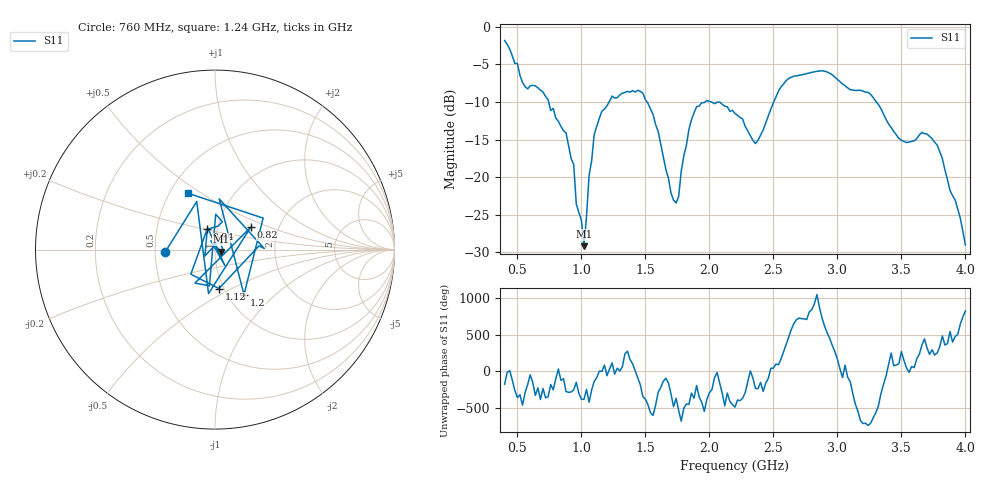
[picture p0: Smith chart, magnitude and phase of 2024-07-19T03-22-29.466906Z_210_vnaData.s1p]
!Created with skrf (http://scikit-rf.org).
# Hz S RI R 50.0
!freq ReS11 ImS11
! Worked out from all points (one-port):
!   181 points, 400 MHz to 4 GHz, reference 50 ohm
!   lowest |S11| = -29.2 dB at 1.02 GHz (marker M1), VSWR 1.07, Z = 53.4 - j1.22 ohm
!   |S11| at or under -10 dB: 744.2 MHz to 1.216 GHz (472.1 MHz wide, 48.2 % of centre); 1.513 GHz to 1.966 GHz (453 MHz wide, 26 % of centre); 3.304 GHz to end of sweep (the widest 3 of 5)
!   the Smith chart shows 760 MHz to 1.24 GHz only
!   S11 on the Smith chart (normalised r, x): 760 MHz: 0.57, -0.02; 820 MHz: 1.44, +0.38; 940 MHz: 0.89, +0.21; 1.12 GHz: 0.95, -0.43; 1.2 GHz: 1.19, -0.65; 1.24 GHz: 0.62, +0.44
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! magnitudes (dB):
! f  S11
! 400 MHz  -1.8
! 560 MHz  -8.0
! 760 MHz  -11.1
! 820 MHz  -12.6
! 860 MHz  -13.8
! 940 MHz  -18.3
! 960 MHz  -23.6
! 1.02 GHz  -29.2
! 1.06 GHz  -19.8
! 1.12 GHz  -13.2
! 1.2 GHz  -10.5
! 1.24 GHz  -9.2
! 1.3 GHz  -9.1
! 1.48 GHz  -8.8
! 1.6 GHz  -13.9
! 1.7 GHz  -22.1
! 1.76 GHz  -22.6
! 1.84 GHz  -13.6
! 1.9 GHz  -10.6
! 2.2 GHz  -11.5
! 2.36 GHz  -15.5
! 2.66 GHz  -6.6
! 2.9 GHz  -5.9
! 3.1 GHz  -8.4
! 3.26 GHz  -9.0
! 3.56 GHz  -15.3
! 3.78 GHz  -15.7
! 4 GHz  -29.0
